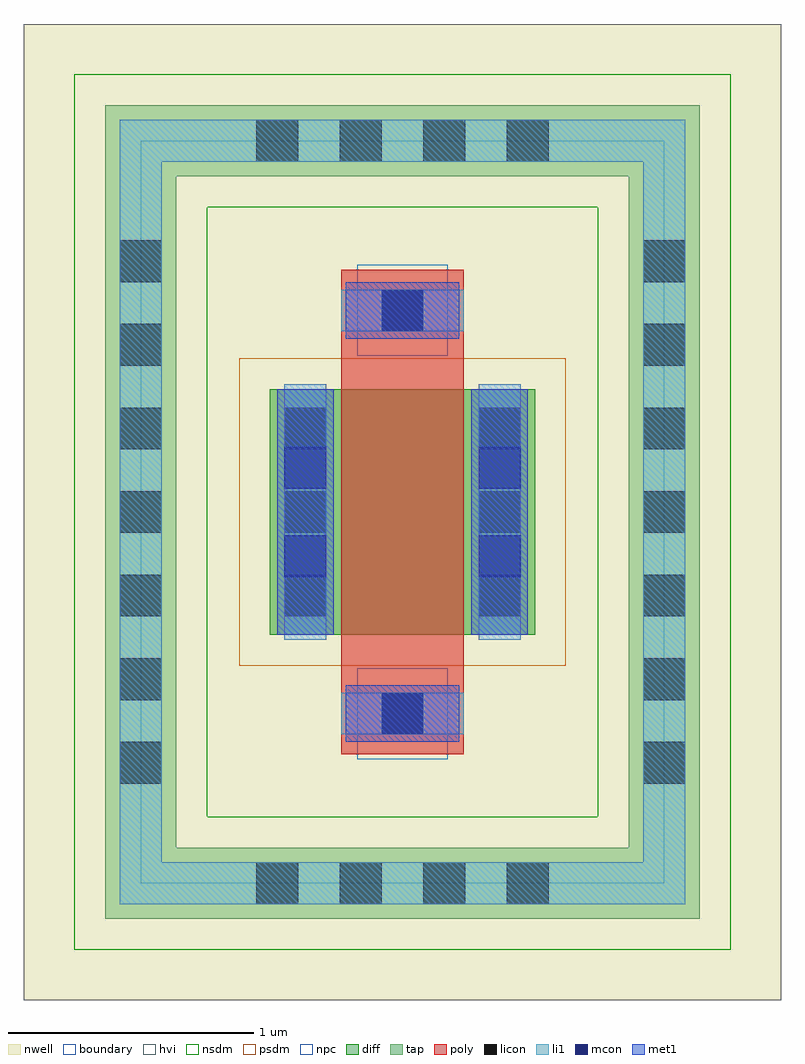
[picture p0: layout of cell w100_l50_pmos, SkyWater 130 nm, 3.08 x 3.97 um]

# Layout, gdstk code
import gdstk
lib = gdstk.Library(unit=1e-6, precision=1e-09)
def R(c, l, rs):  # rectangles x0, y0, x1, y1
    for r in rs: c.add(gdstk.rectangle(r[:2], r[2:], *l))
def A(c, l, x, y, w, h, nx, ny, dx, dy):  # array of equal rectangles
    R(c, l, [(x+i*dx, y+j*dy, x+i*dx+w, y+j*dy+h) for i in range(nx) for j in range(ny)])
nwell = (64, 20)
diff = (65, 20)
tap = (65, 44)
poly = (66, 20)
licon = (66, 44)
li1 = (67, 20)
mcon = (67, 44)
met1 = (68, 20)
hvi = (75, 20)
nsdm = (93, 44)
psdm = (94, 20)
npc = (95, 20)
boundary = (235, 4)

sky130_fd_pr__pfet_g5v0d = lib.new_cell('sky130_fd_pr__pfet_g5v0d10v5')

w100_l50_pmos = lib.new_cell('w100_l50_pmos')
R(w100_l50_pmos, nwell, [(-1.54,-1.985,1.54,1.985)])
R(w100_l50_pmos, diff, [(-0.54,-0.5,0.54,0.5)])
R(w100_l50_pmos, tap, [(-1.21,-1.655,1.21,-1.365), (-1.21,-1.365,-0.92,1.365), (0.92,-1.365,1.21,1.365), (-1.21,1.365,1.21,1.655)])
R(w100_l50_pmos, poly, [(-0.25,-0.985,0.25,0.985)])
A(w100_l50_pmos, licon, -0.595, -1.595, 0.17, 0.17, 4, 2, 0.34, 3.02)
A(w100_l50_pmos, licon, -1.15, -1.105, 0.17, 0.17, 1, 7, 0, 0.34)
A(w100_l50_pmos, licon, 0.98, -1.105, 0.17, 0.17, 1, 7, 0, 0.34)
A(w100_l50_pmos, licon, -0.48, -0.425, 0.17, 0.17, 1, 3, 0, 0.34)
A(w100_l50_pmos, licon, 0.31, -0.425, 0.17, 0.17, 1, 3, 0, 0.34)
R(w100_l50_pmos, licon, [(-0.085,-0.905,0.085,-0.735), (-0.085,0.735,0.085,0.905)])
R(w100_l50_pmos, li1, [(-1.15,-1.595,1.15,-1.425), (-1.15,-1.425,-0.98,1.425), (0.98,-1.425,1.15,1.425), (-0.25,-0.905,0.25,-0.735), (-0.48,-0.52,-0.31,0.52), (0.31,-0.52,0.48,0.52), (-0.25,0.735,0.25,0.905), (-1.15,1.425,1.15,1.595)])
R(w100_l50_pmos, mcon, [(-0.085,-0.905,0.085,-0.735), (-0.48,-0.265,-0.31,-0.095), (0.31,-0.265,0.48,-0.095), (-0.48,0.095,-0.31,0.265), (0.31,0.095,0.48,0.265), (-0.085,0.735,0.085,0.905)])
R(w100_l50_pmos, met1, [(-0.23,-0.935,0.23,-0.705), (-0.51,-0.5,-0.28,0.5), (0.28,-0.5,0.51,0.5), (-0.23,0.705,0.23,0.935)])
R(w100_l50_pmos, hvi, [(-1.54,-1.985,1.54,1.985)])
R(w100_l50_pmos, nsdm, [(-1.335,-1.78,1.335,-1.24), (-1.335,-1.24,-0.795,1.24), (0.795,-1.24,1.335,1.24), (-1.335,1.24,1.335,1.78)])
R(w100_l50_pmos, psdm, [(-0.665,-0.625,0.665,0.625)])
R(w100_l50_pmos, npc, [(-0.185,-1.005,0.185,-0.635), (-0.185,0.635,0.185,1.005)])
R(w100_l50_pmos, boundary, [(-1.065,-1.51,1.065,1.51)])
w100_l50_pmos.add(gdstk.Reference(sky130_fd_pr__pfet_g5v0d, (0,0)))

lib.write_gds('w100_l50_pmos.gds')
